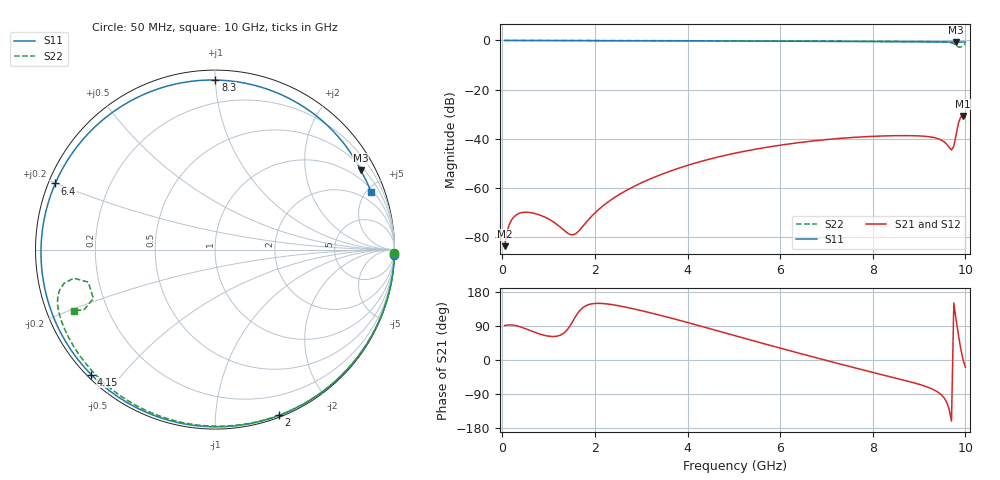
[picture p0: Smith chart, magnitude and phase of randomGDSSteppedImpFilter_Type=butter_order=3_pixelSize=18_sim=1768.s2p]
! freq	dB(S11)	phase(S11)	dB(S12)	phase(S12)
!  dB(S21)	phase(S21)	dB(S22)	phase(S22)
!S-par simulation data
#  GHz  S  DB  R 50
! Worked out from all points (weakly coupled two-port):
!   200 points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, 50 MHz to 10 GHz, reference 50 ohm
!   highest |S21| = -30.80 dB at 9.95 GHz (marker M1); lowest = -83.8 dB at 50 MHz (marker M2)
!   lowest |S11| = -0.7 dB at 9.8 GHz (marker M3), VSWR 25.42, Z = 31.4 + j191 ohm
!   |S11| at or under -10 dB: nowhere
!   |S22| runs from -2.7 to 0.0 dB; largest |S21 - S12| = 0
!   S11 on the Smith chart (normalised r, x): 50 MHz: 0, -64; 2 GHz: 0.02, -1.46; 4.15 GHz: 0.01, -0.42; 6.4 GHz: 0.02, +0.20; 8.3 GHz: 0.06, +1.00; 10 GHz: 1.18, +5.31
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0.05  -0.00 -1.8  -83.83 91.2  -83.83 91.2  -0.00 -0.9
0.2  -0.00 -7.2  -73.16 92.4  -73.16 92.4  -0.00 -3.8
0.45  -0.02 -16.0  -70.06 84.9  -70.06 84.9  -0.01 -8.5
0.9  -0.04 -31.8  -71.83 65.3  -71.83 65.3  -0.02 -16.9
1.5  -0.07 -52.3  -79.21 97.7  -79.21 97.7  -0.04 -28.0
1.75  -0.08 -60.6  -75.49 139.0  -75.49 139.0  -0.04 -32.6
2  -0.08 -68.8  -70.30 149.2  -70.30 149.2  -0.05 -37.1
2.6  -0.11 -88.0  -61.95 141.1  -61.95 141.1  -0.06 -47.9
3.4  -0.14 -112.5  -54.84 118.4  -54.84 118.4  -0.08 -61.8
4.15  -0.18 -134.7  -50.05 93.9  -50.05 93.9  -0.10 -74.4
5.05  -0.23 -161.1  -45.83 63.3  -45.83 63.3  -0.14 -89.1
6.4  -0.33 157.5  -41.65 18.2  -41.65 18.2  -0.21 -110.1
6.7  -0.35 147.7  -40.98 8.5  -40.98 8.5  -0.22 -114.7
7.55  -0.43 118.2  -39.54 -18.7  -39.54 -18.7  -0.29 -127.5
8.3  -0.49 89.9  -38.88 -41.8  -38.88 -41.8  -0.36 -139.0
8.35  -0.50 87.9  -38.85 -43.3  -38.85 -43.3  -0.36 -139.7
9.35  -0.60 47.2  -39.69 -80.6  -39.69 -80.6  -0.53 -156.4
9.7  -0.66 32.7  -44.61 -161.4  -44.61 -161.4  -0.98 -165.5
9.8  -0.68 28.6  -38.32 105.6  -38.32 105.6  -1.90 -168.6
9.85  -0.68 26.7  -33.66 66.4  -33.66 66.4  -2.74 -165.7
9.95  -0.66 22.4  -30.80 0.7  -30.80 0.7  -1.91 -155.4
10  -0.67 20.4  -31.25 -19.2  -31.25 -19.2  -1.34 -156.6
